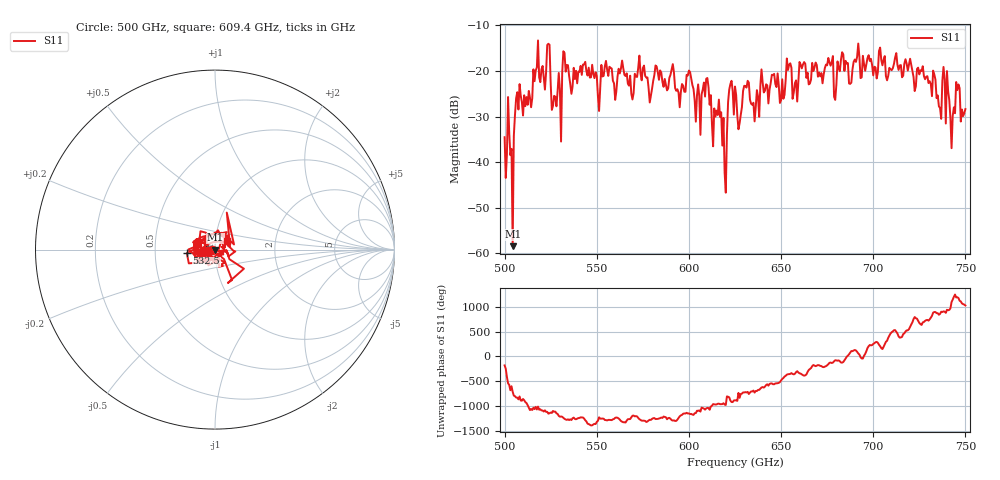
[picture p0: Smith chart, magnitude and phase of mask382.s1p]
!Created with skrf (http://scikit-rf.org).
# GHz S MA R 50.0
!freq magS11 angS11
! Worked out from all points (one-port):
!   401 points, 500 GHz to 750 GHz, reference 50 ohm
!   lowest |S11| = -58.4 dB at 504.4 GHz (marker M1), VSWR 1.00, Z = 50.1 + j0.0193 ohm
!   |S11| at or under -10 dB: start of sweep to end of sweep
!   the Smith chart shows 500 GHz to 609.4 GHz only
!   S11 on the Smith chart (normalised r, x): 500 GHz: 0.96, -0.00; 532.5 GHz: 0.73, -0.03; 609.4 GHz: 1.14, +0.11
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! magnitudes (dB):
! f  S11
! 500 GHz  -34.5
! 504.4 GHz  -58.4
! 506.9 GHz  -24.6
! 513.8 GHz  -25.8
! 516.9 GHz  -19.9
! 523.8 GHz  -14.0
! 526.9 GHz  -25.4
! 531.2 GHz  -20.3
! 532.5 GHz  -16.0
! 550.6 GHz  -25.5
! 562.5 GHz  -20.5
! 590.6 GHz  -19.7
! 593.8 GHz  -24.0
! 600 GHz  -19.9
! 605 GHz  -22.9
! 609.4 GHz  -21.7
! 617.5 GHz  -29.0
! 619.4 GHz  -42.3
! 622.5 GHz  -22.9
! 625 GHz  -23.4
! 656.2 GHz  -26.1
! 687.5 GHz  -22.8
! 718.8 GHz  -19.9
! 735.6 GHz  -27.7
! 738.8 GHz  -21.8
! 743.1 GHz  -29.8
! 745.6 GHz  -24.2
! 750 GHz  -28.3
